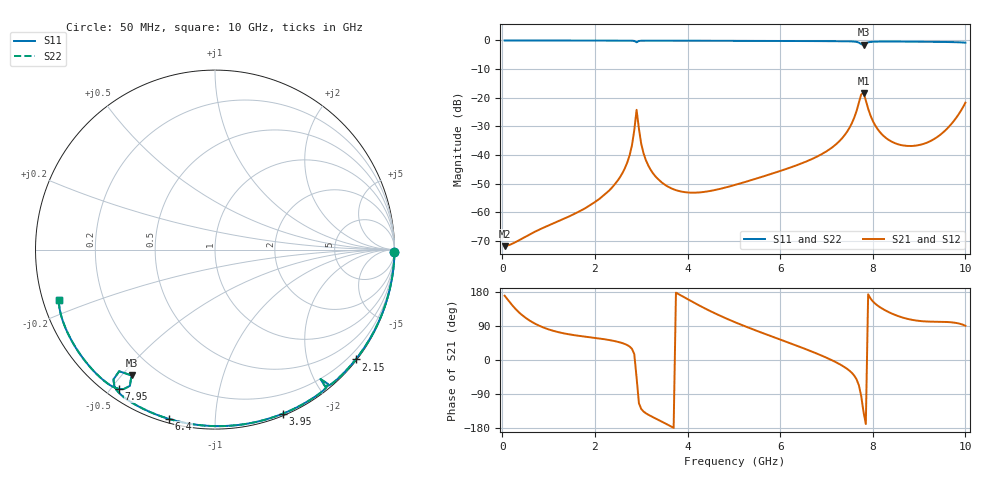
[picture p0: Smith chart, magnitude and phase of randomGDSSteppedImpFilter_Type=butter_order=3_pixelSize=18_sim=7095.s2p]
! freq	dB(S11)	phase(S11)	dB(S12)	phase(S12)
!  dB(S21)	phase(S21)	dB(S22)	phase(S22)
!S-par simulation data
#  GHz  S  DB  R 50
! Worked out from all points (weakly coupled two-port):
!   200 points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, 50 MHz to 10 GHz, reference 50 ohm
!   highest |S21| = -18.36 dB at 7.8 GHz (marker M1); lowest = -71.9 dB at 50 MHz (marker M2)
!   lowest |S11| = -1.5 dB at 7.8 GHz (marker M3), VSWR 11.61, Z = 5.53 - j26.6 ohm
!   |S11| at or under -10 dB: nowhere
!   |S22| runs from -1.5 to 0.0 dB; largest |S21 - S12| = 0
!   S11 on the Smith chart (normalised r, x): 50 MHz: open; 2.15 GHz: 0.03, -2.91; 3.95 GHz: 0.02, -1.49; 6.4 GHz: 0.02, -0.76; 7.95 GHz: 0.04, -0.52; 10 GHz: 0.05, -0.16
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0.05  -0.00 -0.9  -71.86 169.8  -71.86 169.8  -0.00 -0.9
1.75  -0.04 -31.0  -58.95 62.2  -58.95 62.2  -0.04 -31.0
2.15  -0.05 -38.0  -54.63 55.8  -54.63 55.8  -0.05 -38.0
2.5  -0.06 -44.1  -48.79 47.8  -48.79 47.8  -0.06 -44.0
2.7  -0.07 -47.6  -42.55 39.3  -42.55 39.3  -0.07 -47.6
2.8  -0.09 -49.7  -36.66 29.4  -36.66 29.4  -0.09 -49.7
2.9  -0.62 -50.8  -24.24 -46.7  -24.24 -46.7  -0.62 -50.8
3.05  -0.09 -52.5  -39.43 -135.9  -39.43 -135.9  -0.09 -52.4
3.4  -0.08 -58.6  -48.96 -159.9  -48.96 -159.9  -0.08 -58.6
3.95  -0.09 -67.6  -53.02 164.0  -53.02 164.0  -0.09 -67.6
5.05  -0.13 -84.9  -50.36 98.5  -50.36 98.5  -0.13 -84.9
6.4  -0.20 -105.3  -43.33 35.8  -43.33 35.8  -0.20 -105.2
6.7  -0.22 -109.7  -41.33 21.5  -41.33 21.5  -0.22 -109.7
7.4  -0.28 -120.8  -32.91 -19.5  -32.91 -19.5  -0.28 -120.7
7.7  -0.74 -128.0  -21.78 -66.6  -21.78 -66.6  -0.74 -128.0
7.8  -1.50 -123.6  -18.36 -136.8  -18.36 -136.8  -1.50 -123.5
7.95  -0.51 -124.6  -26.19 162.5  -26.19 162.5  -0.51 -124.6
8.35  -0.38 -132.2  -34.80 126.0  -34.80 126.0  -0.38 -132.2
8.8  -0.41 -139.3  -36.87 107.1  -36.87 107.1  -0.41 -139.3
9.25  -0.47 -146.5  -35.11 101.2  -35.11 101.2  -0.47 -146.5
9.65  -0.55 -153.6  -30.04 99.9  -30.04 99.9  -0.55 -153.6
10  -0.78 -162.2  -21.74 90.3  -21.74 90.3  -0.78 -162.2
